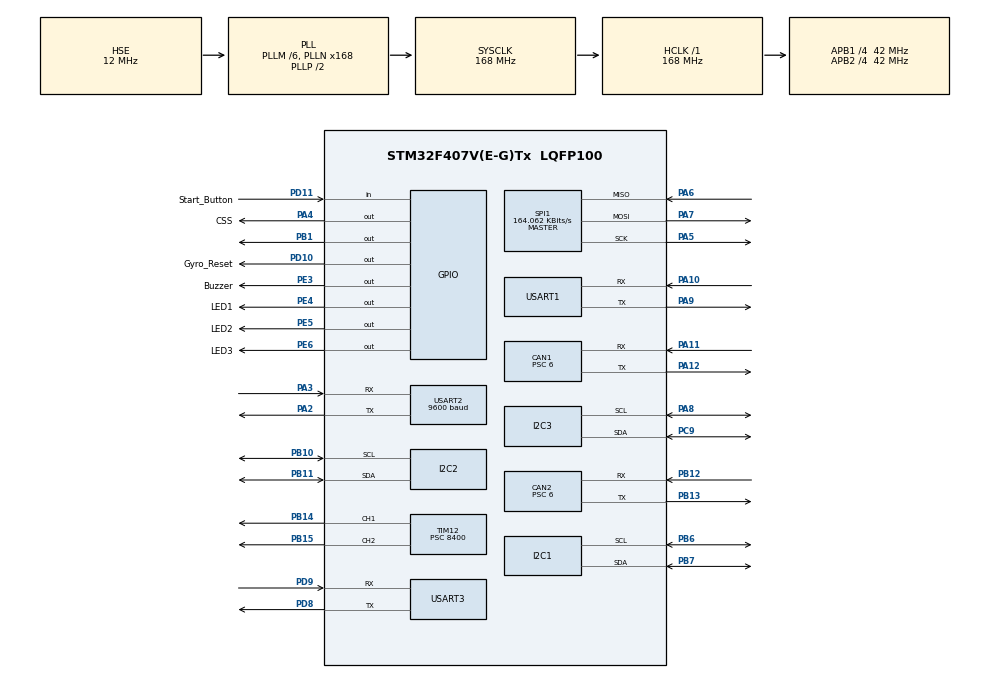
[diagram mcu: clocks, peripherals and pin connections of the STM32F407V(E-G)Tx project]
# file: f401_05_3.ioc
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CAN1.BS1=CAN_BS1_3TQ
CAN1.BS2=CAN_BS2_3TQ
CAN1.CalculateBaudRate=1000000
CAN1.CalculateTimeBit=1000
CAN1.CalculateTimeQuantum=142.85714285714286
CAN1.Prescaler=6
CAN1.SJW=CAN_SJW_2TQ
CAN2.BS1=CAN_BS1_3TQ
CAN2.BS2=CAN_BS2_3TQ
CAN2.CalculateBaudRate=1000000
CAN2.CalculateTimeBit=1000
CAN2.CalculateTimeQuantum=142.85714285714286
CAN2.Prescaler=6
CAN2.SJW=CAN_SJW_2TQ
Dma.Request0=USART3_RX
Dma.USART3_RX.0.Direction=DMA_PERIPH_TO_MEMORY
Dma.USART3_RX.0.FIFOMode=DMA_FIFOMODE_DISABLE
Dma.USART3_RX.0.Instance=DMA1_Stream1
Dma.USART3_RX.0.MemDataAlignment=DMA_MDATAALIGN_BYTE
Dma.USART3_RX.0.MemInc=DMA_MINC_ENABLE
Dma.USART3_RX.0.Mode=DMA_NORMAL
Dma.USART3_RX.0.PeriphDataAlignment=DMA_PDATAALIGN_BYTE
Dma.USART3_RX.0.PeriphInc=DMA_PINC_DISABLE
Dma.USART3_RX.0.Priority=DMA_PRIORITY_LOW
FREERTOS.Tasks01=defaultTask,24,128,StartDefaultTask,Default,NULL,Dynamic,NULL,NULL
FREERTOS.configENABLE_FPU=1
I2C3.I2C_Mode=I2C_Standard
Mcu.Family=STM32F4
Mcu.Name=STM32F407V(E-G)Tx
Mcu.Package=LQFP100
NVIC.CAN1_RX0_IRQn=true\:5\:0\:true\:false\:true\:true\:true\:true\:true
NVIC.CAN2_RX0_IRQn=true\:5\:0\:true\:false\:true\:true\:true\:true\:true
NVIC.DMA1_Stream1_IRQn=true\:5\:0\:false\:false\:true\:true\:false\:true\:true
NVIC.PriorityGroup=NVIC_PRIORITYGROUP_4
NVIC.TIM2_IRQn=true\:15\:0\:false\:false\:true\:false\:false\:true\:true
NVIC.TIM8_TRG_COM_TIM14_IRQn=true\:5\:0\:false\:false\:true\:true\:true\:true\:true
NVIC.TimeBase=TIM2_IRQn
NVIC.TimeBaseIP=TIM2
NVIC.USART1_IRQn=true\:5\:0\:true\:false\:true\:true\:true\:true\:true
NVIC.USART2_IRQn=true\:5\:0\:true\:false\:true\:true\:true\:true\:true
NVIC.USART3_IRQn=true\:5\:0\:false\:false\:true\:true\:true\:true\:true
PA10.Mode=Asynchronous
PA10.Signal=USART1_RX
PA11.Mode=CAN_Activate
PA11.Signal=CAN1_RX
PA12.Mode=CAN_Activate
PA12.Signal=CAN1_TX
PA13.Mode=Serial_Wire
PA13.Signal=SYS_JTMS-SWDIO
PA14.Mode=Serial_Wire
PA14.Signal=SYS_JTCK-SWCLK
PA2.Mode=Asynchronous
PA2.Signal=USART2_TX
PA3.Mode=Asynchronous
PA3.Signal=USART2_RX
PA4.GPIO_Label=CSS
PA4.PinState=GPIO_PIN_SET
PA4.Signal=GPIO_Output
PA5.Mode=Full_Duplex_Master
PA5.Signal=SPI1_SCK
PA6.Mode=Full_Duplex_Master
PA6.Signal=SPI1_MISO
PA7.Mode=Full_Duplex_Master
PA7.Signal=SPI1_MOSI
PA8.Mode=I2C
PA8.Signal=I2C3_SCL
PA9.Mode=Asynchronous
PA9.Signal=USART1_TX
PB1.Signal=GPIO_Output
PB10.Mode=I2C
PB10.Signal=I2C2_SCL
PB11.Mode=I2C
PB11.Signal=I2C2_SDA
PB12.Mode=CAN_Activate
PB12.Signal=CAN2_RX
PB13.Mode=CAN_Activate
PB13.Signal=CAN2_TX
PB14.Signal=S_TIM12_CH1
PB15.Signal=S_TIM12_CH2
PB6.Mode=I2C
PB6.Signal=I2C1_SCL
PB7.Mode=I2C
PB7.Signal=I2C1_SDA
PC14-OSC32_IN.Mode=LSE-External-Oscillator
PC14-OSC32_IN.Signal=RCC_OSC32_IN
PC15-OSC32_OUT.Mode=LSE-External-Oscillator
PC15-OSC32_OUT.Signal=RCC_OSC32_OUT
PC9.Mode=I2C
PC9.Signal=I2C3_SDA
PD10.GPIO_Label=Gyro_Reset
PD10.PinState=GPIO_PIN_SET
PD10.Signal=GPIO_Output
PD11.GPIO_Label=Start_Button
PD11.GPIO_PuPd=GPIO_PULLUP
PD11.Signal=GPIO_Input
PD8.Mode=Asynchronous
PD8.Signal=USART3_TX
PD9.Mode=Asynchronous
PD9.Signal=USART3_RX
PE3.GPIO_Label=Buzzer
PE3.Signal=GPIO_Output
PE4.GPIO_Label=LED1
PE4.Signal=GPIO_Output
PE5.GPIO_Label=LED2
PE5.Signal=GPIO_Output
PE6.GPIO_Label=LED3
PE6.Signal=GPIO_Output
PH0-OSC_IN.Mode=HSE-External-Oscillator
PH0-OSC_IN.Signal=RCC_OSC_IN
PH1-OSC_OUT.Mode=HSE-External-Oscillator
PH1-OSC_OUT.Signal=RCC_OSC_OUT
ProjectManager.HeapSize=0x200
ProjectManager.StackSize=0x400
ProjectManager.TargetToolchain=CMake
RCC.48MHZClocksFreq_Value=84000000
RCC.AHBFreq_Value=168000000
RCC.APB1CLKDivider=RCC_HCLK_DIV4
RCC.APB1Freq_Value=42000000
RCC.APB1TimFreq_Value=84000000
RCC.APB2CLKDivider=RCC_HCLK_DIV4
RCC.APB2Freq_Value=42000000
RCC.APB2TimFreq_Value=84000000
RCC.CortexFreq_Value=168000000
RCC.HCLKFreq_Value=168000000
RCC.HSE_VALUE=12000000
RCC.HSI_VALUE=16000000
RCC.PLLM=6
RCC.PLLN=168
RCC.PLLSourceVirtual=RCC_PLLSOURCE_HSE
RCC.SYSCLKFreq_VALUE=168000000
RCC.SYSCLKSource=RCC_SYSCLKSOURCE_PLLCLK
RCC.VCOOutputFreq_Value=336000000
SH.S_TIM12_CH1.0=TIM12_CH1,PWM Generation1 CH1
SH.S_TIM12_CH2.0=TIM12_CH2,PWM Generation2 CH2
SPI1.BaudRatePrescaler=SPI_BAUDRATEPRESCALER_256
SPI1.CLKPolarity=SPI_POLARITY_HIGH
SPI1.CalculateBaudRate=164.062 KBits/s
SPI1.Direction=SPI_DIRECTION_2LINES
SPI1.FirstBit=SPI_FIRSTBIT_LSB
SPI1.Mode=SPI_MODE_MASTER
SPI1.VirtualType=VM_MASTER
STMicroelectronics.X-CUBE-ALGOBUILD.1.4.0.LibraryCcDSPOoLibraryJjDSPOoLibrary=true
TIM11.Prescaler=83
TIM12.Channel-PWM\ Generation1\ CH1=TIM_CHANNEL_1
TIM12.Channel-PWM\ Generation2\ CH2=TIM_CHANNEL_2
TIM12.Period=200
TIM12.Prescaler=8400
TIM12.Pulse-PWM\ Generation1\ CH1=5
TIM12.Pulse-PWM\ Generation2\ CH2=5
TIM13.Prescaler=83
TIM14.Period=10000-1
TIM14.Prescaler=84-1
TIM8.AutoReloadPreload=TIM_AUTORELOAD_PRELOAD_ENABLE
TIM8.Prescaler=84-1
USART1.VirtualMode=VM_ASYNC
USART2.BaudRate=9600
USART2.VirtualMode=VM_ASYNC
USART3.VirtualMode=VM_ASYNC
VP_FREERTOS_VS_CMSIS_V2.Mode=CMSIS_V2
VP_STMicroelectronics.X-CUBE-ALGOBUILD_VS_DSPOoLibraryJjLibrary_1.4.0_1.4.0.Mode=DSPOoLibraryJjLibrary
VP_SYS_VS_tim2.Mode=TIM2
VP_TIM10_VS_ClockSourceINT.Mode=Enable_Timer
VP_TIM11_VS_ClockSourceINT.Mode=Enable_Timer
VP_TIM12_VS_ClockSourceINT.Mode=Internal
VP_TIM13_VS_ClockSourceINT.Mode=Enable_Timer
VP_TIM14_VS_ClockSourceINT.Mode=Enable_Timer
VP_TIM8_VS_ClockSourceINT.Mode=Internal
VP_TIM9_VS_ClockSourceINT.Mode=Internal
board=custom

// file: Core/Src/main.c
/* USER CODE BEGIN Header */
/**
  ******************************************************************************
  * @file           : main.c
  * @brief          : Main program body
  ******************************************************************************
  * @attention
  *
  * Copyright (c) 2025 STMicroelectronics.
  * All rights reserved.
  *
  * This software is licensed under terms that can be found in the LICENSE file
  * in the root directory of this software component.
  * If no LICENSE file comes with this software, it is provided AS-IS.
  *
  ******************************************************************************
  */
/* USER CODE END Header */
#include "main.h"
#include "cmsis_os.h"
#include "can.h"
#include "dma.h"
#include "i2c.h"
#include "spi.h"
#include "tim.h"
#include "usart.h"
#include "gpio.h"

/* USER CODE BEGIN Includes */
#include "stdio.h"

#include "bsp_can.h"
#include "pid.h"
#include "Chassis_Control.h"
#include "mpu6050.h"
#include "Chassis_Control.h"
#include "OLED.h"
#include "HC_SR04.h"
#include "map.h"
#include "Arm_Control.h"
#include "VL53L1.h"
#include "MPU9250.h"
#include "VL53L1X_API.h"
#include "Process_Control.h"
#include "Gyro.h"

/* USER CODE END Includes */

void SystemClock_Config(void);
void MX_FREERTOS_Init(void);

/* USER CODE BEGIN 0 */
uint16_t time=0,cost=0;
uint8_t RxBuffer[16];
uint8_t DMABuffer[DMABuffer_Size];
int32_t value=0;
uint8_t sequence[8];
//标志顺序接收状态
uint8_t state=0;
//MPU9250 angle;
/* USER CODE END 0 */

int main(void)
{

  /* MCU Configuration--------------------------------------------------------*/

  /* Reset of all peripherals, Initializes the Flash interface and the Systick. */
  HAL_Init();

  /* Configure the system clock */
  SystemClock_Config();

  /* Initialize all configured peripherals */
  MX_GPIO_Init();
  MX_DMA_Init();
  MX_CAN1_Init();
  MX_CAN2_Init();
  MX_I2C1_Init();
  MX_I2C2_Init();
  MX_SPI1_Init();
  MX_TIM9_Init();
  MX_TIM10_Init();
  MX_TIM11_Init();
  MX_TIM12_Init();
  MX_USART1_UART_Init();
  MX_USART2_UART_Init();
  MX_TIM14_Init();
  MX_TIM13_Init();
  MX_TIM8_Init();
  MX_I2C3_Init();
  MX_USART3_UART_Init();
  /* USER CODE BEGIN 2 */
    RetargetInit(&huart1);
    CAN_Filter_Config();
    HAL_CAN_ActivateNotification(&hcan1, CAN_IT_RX_FIFO0_MSG_PENDING);
    HAL_CAN_ActivateNotification(&hcan2, CAN_IT_RX_FIFO0_MSG_PENDING);
    HAL_UART_Receive_IT(UART_PI,RxBuffer,10);//接收顺序
    HAL_TIM_Base_Start(&htim11);
    HAL_TIM_Base_Start(&htim13);
//    HAL_TIM_IC_Start_IT(&htim8, TIM_CHANNEL_1);
    //底盘电机
    pid_param_init(&motor_pid[0],	3000,500,10,8000,0,2.0f,0.20f,0.3f);
    pid_param_init(&motor_pid[1],	3000,500,10,8000,0,2.0f,0.20f,0.3f);
    pid_param_init(&motor_pid[2],	3000,500,10,8000,0,2.0f,0.20f,0.3f);
    pid_param_init(&motor_pid[3],	3000,500,10,8000,0,2.0f,0.20f,0.3f);
    //机械臂转盘
    pid_param_init(&arm_pid[0],	1000,400,360,1000,5,0.02f,0.01f,0.2f);
    //机械臂升降
    pid_param_init(&arm_pid[1],	2000,500,100,1000,0,0.02f,0.01f,0.1f);
    //机械臂伸缩
    pid_param_init(&arm_pid[2],	2000,500,100,1000,0,0.02f,0.01f,0.1f);
    //运动距离控制
    pid_param_init(&distance_x_pid, 500, 200, 2, 2000, 0, 1.2f, 0.01f, 0.3f);
    pid_param_init(&distance_y_pid, 500, 200, 2,  2000, 0, 1.2f, 0.01f, 0.3f);
    pid_param_init(&distance_z_pid, 1.0f, 200, 0.0175f, 2000, 0, 3.0f, 0.001f, 5);
    //校准pid
    pid_param_init(&calibration_x_pid, 800, 70, 1, 180, 0, 0.9f, 0.01f, 0.2f);
    pid_param_init(&calibration_y_pid, 800, 70, 1, 120, 0, 0.9f, 0.01f, 0.2f);
    pid_param_init(&calibration_z_pid, 0.1f, 0.2f, 0.0175f, 90, 0, 0.1f, 0, 0);
//    MPU9250_init();
//    mpu_dmp_init();
    OLED_Init();
//    uint8_t id=MPU9250_ID();
//    printf("%d",id);
    //    set_arm_height(300);
//  //  set_arm_angle(360);
//    HAL_Delay(10000);
// //   set_arm_angle(0);
//    set_arm_height(0);
//    float pitch=0, roll=0, yaw=0,ax ,ay ,az;
//    if(DMP_Init()!=0)
//    {
//        printf("error");
//    }
//    HAL_Delay(1000);
//    Omni_Reverse_Calculation(500,0,0);
//    Omni_set_target();
//    HAL_Delay(2000);
//    Omni_Reverse_Calculation(0,0,0);
//    Omni_set_target();
    HAL_TIM_PWM_Start(&htim12,TIM_CHANNEL_1);
    __HAL_TIM_SET_COMPARE(&htim12,TIM_CHANNEL_1,5);

#ifdef GYRO_ENABLE
    HAL_UARTEx_ReceiveToIdle_DMA(UART_GYRO,DMABuffer,DMABuffer_Size);
    Gyro_Reset();
#endif
//    HAL_UART_Receive_IT(&huart3, rx_yaw, sizeof(float));
//    multi_init();
//

//
//    OLED_ShowNum(0, 0, Distance[0], 4,OLED_8X16);
//
//    OLED_ShowFloatNum(40, 0, (double)angle.yaw,3, 2,OLED_8X16);
//
//    OLED_ShowNum(0, 16, Distance[1], 4,OLED_8X16);
//
//    OLED_ShowNum(0, 32, Distance[2], 4,OLED_8X16);
//
//    OLED_ShowNum(0, 48, Distance[3], 4,OLED_8X16);
 //   OLED_Update();
//调试代码
//    distance_x_pid.target=-1000;
//    distance_y_pid.target=0;
//    distance_z_pid.target=0;
//    uint8_t tx=0x55;
//   HAL_TIM_Base_Start_IT(&htim14);

//    set_cur_pos(0,-400,0);
//    uint8_t sequence[8]= {1,2,3,4,5,6,3,3};
//    Process_Generation(sequence);
    //未获取到数据，等待树莓派数据
    while (state!=2)
    {
        OLED_ShowString(0,0,"waiting for data",OLED_8X16);
        OLED_Update();
    }
    Process_Generation(sequence);
    //打印获取数据
    OLED_Clear();
    for(int i=0;i<6;i++)
        OLED_ShowNum(16*i,0,sequence[i],1,OLED_8X16);
    OLED_ShowNum(0,16,sequence[6],1,OLED_8X16);
    OLED_ShowNum(16,16,sequence[7],1,OLED_8X16);
    OLED_Update();
    //等待按下开始按钮
    while(HAL_GPIO_ReadPin(Start_Button_GPIO_Port,Start_Button_Pin))
    {

    }
  /* USER CODE END 2 */

  /* Init scheduler */
  osKernelInitialize();

  /* Call init function for freertos objects (in cmsis_os2.c) */
  MX_FREERTOS_Init();

  /* Start scheduler */
  osKernelStart();

  /* We should never get here as control is now taken by the scheduler */

  /* Infinite loop */
  while (1)
  {

    /* USER CODE BEGIN 3 */
    //定位
      Omni_Forward_Calculation(moto_chassis);
//      MPU9250_Get_Angle(&angle);
////      Get_Dis();
//      get_distance();
//      OLED_ShowNum(0, 0, Distance[0], 4,OLED_8X16);
//      OLED_ShowFloatNum(40, 0, (double)angle.yaw,3, 2,OLED_8X16);
//      OLED_ShowNum(0, 16, Distance[1], 4,OLED_8X16);
//      OLED_ShowNum(0, 32, Distance[2], 4,OLED_8X16);
//      OLED_ShowNum(0, 48, Distance[3], 4,OLED_8X16);
      OLED_Update();
//      HAL_Delay(5000);
//      __HAL_TIM_SET_COMPARE(&htim12,TIM_CHANNEL_1,10);
//     HAL_Delay(5000);
//      __HAL_TIM_SET_COMPARE(&htim12,TIM_CHANNEL_1,5);

//    motor();
//    Omni_Forward_Calculation(moto_chassis);
//    HAL_Delay(3);
//      MPU6050_DMP_Get_Data(&pitch, &roll, &yaw);
//    //  MPU6050_DMP_Get_Accel(&ax ,&ay ,&az);
//      HAL_UART_Transmit(&huart1,&tx,1,100);
//        printf("%f\n",angle.yaw);
//      printf("%f,%f,%f,%f,%f\n",distance_x_pid.target,cur_pos.x,distance_x_pid.output,cur_pos.y,cur_pos.yaw);
//      HAL_Delay(10);
//        printf("%d\n",time);
//        HAL_Delay(10);
//      HAL_GPIO_TogglePin(GPIOB,GPIO_PIN_1);
//      HAL_Delay(1000);
  }
  /* USER CODE END 3 */
}

void SystemClock_Config(void)
{
  RCC_OscInitTypeDef RCC_OscInitStruct = {0};
  RCC_ClkInitTypeDef RCC_ClkInitStruct = {0};

  /** Configure the main internal regulator output voltage
  */
  __HAL_RCC_PWR_CLK_ENABLE();
  __HAL_PWR_VOLTAGESCALING_CONFIG(PWR_REGULATOR_VOLTAGE_SCALE1);

  /** Initializes the RCC Oscillators according to the specified parameters
  * in the RCC_OscInitTypeDef structure.
  */
  RCC_OscInitStruct.OscillatorType = RCC_OSCILLATORTYPE_HSE;
  RCC_OscInitStruct.HSEState = RCC_HSE_ON;
  RCC_OscInitStruct.PLL.PLLState = RCC_PLL_ON;
  RCC_OscInitStruct.PLL.PLLSource = RCC_PLLSOURCE_HSE;
  RCC_OscInitStruct.PLL.PLLM = 6;
  RCC_OscInitStruct.PLL.PLLN = 168;
  RCC_OscInitStruct.PLL.PLLP = RCC_PLLP_DIV2;
  RCC_OscInitStruct.PLL.PLLQ = 4;
  if (HAL_RCC_OscConfig(&RCC_OscInitStruct) != HAL_OK)
  {
    Error_Handler();
  }

  /** Initializes the CPU, AHB and APB buses clocks
  */
  RCC_ClkInitStruct.ClockType = RCC_CLOCKTYPE_HCLK|RCC_CLOCKTYPE_SYSCLK
                              |RCC_CLOCKTYPE_PCLK1|RCC_CLOCKTYPE_PCLK2;
  RCC_ClkInitStruct.SYSCLKSource = RCC_SYSCLKSOURCE_PLLCLK;
  RCC_ClkInitStruct.AHBCLKDivider = RCC_SYSCLK_DIV1;
  RCC_ClkInitStruct.APB1CLKDivider = RCC_HCLK_DIV4;
  RCC_ClkInitStruct.APB2CLKDivider = RCC_HCLK_DIV4;

  if (HAL_RCC_ClockConfig(&RCC_ClkInitStruct, FLASH_LATENCY_5) != HAL_OK)
  {
    Error_Handler();
  }
}

/* USER CODE BEGIN 4 */
void HAL_UART_RxCpltCallback(UART_HandleTypeDef *huart)
{
    if(huart==UART_PI)
    {
      //获取夹取顺序
      if(RxBuffer[0]==0xaa&&RxBuffer[9]==0xbb)
      {
        if (RxBuffer[1]==0xee)//数据正确
        {
            state=2;
            return;
        }
        for (int i=0;i<8;i++)
        {
          sequence[i]=RxBuffer[i+1];
        }
        state=1;
        // printf("%f\t%f\t\n",calibration_x_pid.measure,calibration_y_pid.measure);
        HAL_UART_Transmit_IT(UART_PI,RxBuffer,10);
        HAL_UART_Transmit_IT(UART_DEBUG,RxBuffer,10);
        HAL_UART_Receive_IT(UART_PI,RxBuffer,10);
      }
      //获取校准值
      if(RxBuffer[0]==0xcc&&RxBuffer[7]==0xdd)
      {

          calibration_x_pid.measure=(float)((int16_t)(RxBuffer[1]<<8)|RxBuffer[2]);
          calibration_y_pid.measure=(float)((int16_t)(RxBuffer[3]<<8)|RxBuffer[4]);
          calibration_z_pid.measure=(float)((int16_t)(RxBuffer[5]<<8)|RxBuffer[6]);
//           printf("%f\t%f\t\n",calibration_x_pid.measure,calibration_y_pid.measure);
//          printf("%f,%f,%f\n",calibration_x_pid.measure,calibration_y_pid.measure,calibration_z_pid.measure);

      }

    }
}
// 空闲中断回调函数
void HAL_UARTEx_RxEventCallback(UART_HandleTypeDef *huart, uint16_t Size)
{
    if(huart->Instance==USART3)
    {
        memcpy(&value,DMABuffer+36+6,sizeof(int32_t));
        if(value>180000||value<-180000)
            value=0;
        if(value<0)
        {
            value=360000+value;
        }
//        printf("%f----\n",yaw_value);
        //再次开启空闲中断接收，不然只会接收一次数据
        HAL_UARTEx_ReceiveToIdle_DMA(UART_GYRO,DMABuffer,DMABuffer_Size);
    }
}
/* USER CODE END 4 */

void HAL_TIM_PeriodElapsedCallback(TIM_HandleTypeDef *htim)
{
  if (htim->Instance == TIM2) {
    HAL_IncTick();
  }
  /* USER CODE BEGIN Callback 1 */
    if(htim==&htim14)
    {
//        MPU9250_Get_Angle(&angle);

//        time=__HAL_TIM_GET_COUNTER(&htim13);
//        pid_calculate_speed(&distance_x_pid, cur_pos.x);
//        pid_calculate_speed(&distance_y_pid, cur_pos.y);
//        pid_calculate_speed(&distance_z_pid, cur_pos.yaw);
//        Omni_Reverse_Calculation(distance_x_pid.output,distance_y_pid.output,distance_z_pid.output);
//        pid_calculate_speed(&arm_pid[0], moto_arm[0].total_angle);
//        pid_calculate_speed(&arm_pid[1], moto_arm[1].total_angle);
//        pid_calculate_speed(&arm_pid[2], moto_arm[2].total_angle);
//        set_moto_arm_current(arm_pid[0].output,arm_pid[1].output,0);
//        pid_calculate_speed(&motor_pid[0], moto_chassis[0].speed_rpm);
//        pid_calculate_speed(&motor_pid[1], moto_chassis[1].speed_rpm);
//        pid_calculate_speed(&motor_pid[2], moto_chassis[2].speed_rpm);
//        pid_calculate_speed(&motor_pid[3], moto_chassis[3].speed_rpm);
//        set_moto_chassis_current(motor_pid[0].output, motor_pid[1].output, motor_pid[2].output, motor_pid[3].output);
//        uint16_t count=__HAL_TIM_GET_COUNTER(&htim13);
//        if(count<time)
//        {
//            cost=0xffff-time+count;
//        }
//        else
//            cost=count-time;
//        count++;
    }
//开始程序备份
//    //未获取到数据
//    while (state!=2)
//    {
//        OLED_ShowString(0,0,"waiting for data",OLED_8X16);
//        OLED_Update();
//    }
//    Process_Generation(sequence);
//    //打印获取数据
//    for(int i=0;i<6;i++)
//        OLED_ShowNum(16*i,0,sequence[i],1,OLED_8X16);
//    OLED_ShowNum(0,16,sequence[6],1,OLED_8X16);
//    OLED_ShowNum(16,16,sequence[7],1,OLED_8X16);
//    OLED_Update();
//    while(HAL_GPIO_ReadPin(start_button_GPIO_Port,start_button_Pin))
//    {
//
//    }
  /* USER CODE END Callback 1 */
}

void Error_Handler(void)
{
  __disable_irq();
  while (1)
  {
  }
}

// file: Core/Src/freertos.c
/* USER CODE BEGIN Header */
/**
  ******************************************************************************
  * File Name          : freertos.c
  * Description        : Code for freertos applications
  ******************************************************************************
  * @attention
  *
  * Copyright (c) 2025 STMicroelectronics.
  * All rights reserved.
  *
  * This software is licensed under terms that can be found in the LICENSE file
  * in the root directory of this software component.
  * If no LICENSE file comes with this software, it is provided AS-IS.
  *
  ******************************************************************************
  */
/* USER CODE END Header */

#include "FreeRTOS.h"
#include "task.h"
#include "main.h"
#include "cmsis_os.h"

/* USER CODE BEGIN Includes */
#include "queue.h"

#include "bsp_can.h"
#include "pid.h"
#include "Chassis_Control.h"
#include "mpu6050.h"
#include "Chassis_Control.h"
#include "OLED.h"
#include "HC_SR04.h"
#include "map.h"
#include "Arm_Control.h"
#include "VL53L1.h"
#include "MPU9250.h"
#include "VL53L1X_API.h"
#include "Process_Control.h"
#include "event_groups.h"
#include "usart.h"
#include "Gyro.h"

/* USER CODE END Includes */

/* USER CODE BEGIN PM */
extern uint8_t RxBuffer[16];
/* USER CODE END PM */

/* USER CODE BEGIN Variables */
BaseType_t ret;//返回值
TaskHandle_t OFC;//运动正解任务
TaskHandle_t DSP;//双环pid任务 distance_speed_pid_task
TaskHandle_t CPT;//校准pid任务 calibration_pid_task
TaskHandle_t OLEDT;//oled显示任务 oled_task
TaskHandle_t PCT;//流程控制任务 process_control_task
TaskHandle_t APT;//机械臂控制任务 arm_pid_task
//QueueHandle_t control_flow_queue;//控制流队列
//EventGroupHandle_t arrive_event_group;//控制流事件组
/* USER CODE END Variables */
/* Definitions for defaultTask */
osThreadId_t defaultTaskHandle;
const osThreadAttr_t defaultTask_attributes = {
  .name = "defaultTask",
  .stack_size = 128 * 4,
  .priority = (osPriority_t) osPriorityNormal,
};

/* USER CODE BEGIN FunctionPrototypes */
void Omni_Forward_Calculation_task(void *param);
void distance_speed_pid_task(void *param);
void calibration_pid_task(void *parm);
void oled_task(void *parm);
void process_control_task(void *parm);
void arm_pid_task(void *parm);
/* USER CODE END FunctionPrototypes */

void StartDefaultTask(void *argument);

void MX_FREERTOS_Init(void); /* (MISRA C 2004 rule 8.1) */

void MX_FREERTOS_Init(void) {

  /* Create the thread(s) */
  /* creation of defaultTask */
  defaultTaskHandle = osThreadNew(StartDefaultTask, NULL, &defaultTask_attributes);

  /* USER CODE BEGIN RTOS_THREADS */
//    control_flow_queue= xQueueCreate(5, sizeof(control_block));//创建控制队列
//    arrive_event_group= xEventGroupCreate();//创建控制完成事件组
  /* add threads, ... */
  ret= xTaskCreate(oled_task,"oled_task",256,NULL,3,&OLEDT);
  ret= xTaskCreate(Omni_Forward_Calculation_task,"Omni_Forward_Calculation_task",256,NULL,3,&OFC);
  ret= xTaskCreate(distance_speed_pid_task,"distance_speed_pid_task",256,NULL,3,&DSP);
  ret= xTaskCreate(process_control_task,"process_control_task",256,NULL,4,&PCT);
  ret= xTaskCreate(arm_pid_task,"arm_pid_task",128,NULL,3,&APT);
  ret= xTaskCreate(calibration_pid_task,"calibration_pid_task",256,NULL,3,&CPT);
    //阻塞校准pid任务
    vTaskSuspend(CPT);
  /* USER CODE END RTOS_THREADS */

}

void StartDefaultTask(void *argument)
{
  for(;;)
  {
    osDelay(1);
  }
}

/* USER CODE BEGIN Application */
/**
 * @brief 全向轮正解任务
 * @param param
 */
void Omni_Forward_Calculation_task(void *param)
{
    while(1)
    {
        Mecanum_Forward_Calculation(moto_chassis);
        vTaskDelay(20);
    }
}
/**
 * @brief 双环pid计算任务，距离->速度->电流
 * @param param
 */
void distance_speed_pid_task(void *param)
{
    TickType_t xLastWakeTime=xTaskGetTickCount();
    while(1)
    {
        //位置环
        pid_calculate_position(&distance_x_pid, cur_pos.x);
        pid_calculate_position(&distance_y_pid, cur_pos.y);
        pid_calculate_position_z(&distance_z_pid, cur_pos.yaw);
        //计算四轮速度并设置速度环pid target
        //distance_x_pid.output=0;
//        distance_y_pid.output=0;
//        distance_z_pid.output=0;
        Mecanum_Reverse_Calculation(distance_x_pid.output,distance_y_pid.output,distance_z_pid.output);
//        Mecanum_Reverse_Calculation(100,0,0);
//        printf("%d,%d,%d,%d,%f,%f,%f,%f,%f\n",moto_chassis[0].speed_rpm,moto_chassis[1].speed_rpm,moto_chassis[2].speed_rpm,moto_chassis[3].speed_rpm,motor_pid[0].target,motor_pid[1].target,motor_pid[2].target,motor_pid[3].target,cur_pos.yaw);
//        motor();
        //速度环
        pid_calculate_speed(&motor_pid[0], moto_chassis[0].speed_rpm);
        pid_calculate_speed(&motor_pid[1], moto_chassis[1].speed_rpm);
        pid_calculate_speed(&motor_pid[2], moto_chassis[2].speed_rpm);
        pid_calculate_speed(&motor_pid[3], moto_chassis[3].speed_rpm);
        set_moto_chassis_current(motor_pid[0].output, motor_pid[1].output, motor_pid[2].output, motor_pid[3].output);

        //printf("%f,%f,%f,%f\n",distance_z_pid.measure,distance_z_pid.target,distance_z_pid.output,distance_x_pid.output);
        vTaskDelayUntil(&xLastWakeTime, pdMS_TO_TICKS(20));
    }
}
/**
 * @brief 机械臂id计算任务，位置->电流
 * @param param
 */
void arm_pid_task(void *parm)
{
    TickType_t xLastWakeTime=xTaskGetTickCount();
    while(1)
    {
        pid_calculate_position(&arm_pid[0], moto_arm[0].total_angle);
        pid_calculate_position(&arm_pid[1], moto_arm[1].total_angle);
        pid_calculate_position(&arm_pid[2], moto_arm[2].total_angle);
//        arm_pid[1].output=0;
        set_moto_arm_current(arm_pid[0].output, arm_pid[1].output, arm_pid[2].output);
        vTaskDelayUntil(&xLastWakeTime, pdMS_TO_TICKS(50));
    }
}
/**
 * @brief 校准pid
 * @param parm
 */
void calibration_pid_task(void *parm)
{
    TickType_t xLastWakeTime=xTaskGetTickCount();
    while(1)
    {
//        printf("%f,%f,%f\n",calibration_x_pid.measure,calibration_y_pid.measure,calibration_z_pid.measure);
//        HAL_UART_Transmit_IT(UART_DEBUG,RxBuffer,10);

        float x=calibration_x_pid.measure,y=calibration_y_pid.measure,z=calibration_z_pid.measure;
        pid_calculate_position(&calibration_x_pid, x);
        pid_calculate_position(&calibration_y_pid, y);
        pid_calculate_position(&calibration_z_pid, z);
//        printf("%f,%f,%f,%f,%f,%f\n",calibration_x_pid.output,calibration_y_pid.output,calibration_z_pid.output,calibration_x_pid.measure,calibration_y_pid.measure,calibration_z_pid.measure);
        //计算四轮速度并设置速度环pid target,不进行坐标变换
        Mecanum_Reverse_Calculation_unchanged(calibration_x_pid.output,calibration_y_pid.output,calibration_z_pid.output);

        pid_calculate_speed(&motor_pid[0], moto_chassis[0].speed_rpm);
        pid_calculate_speed(&motor_pid[1], moto_chassis[1].speed_rpm);
        pid_calculate_speed(&motor_pid[2], moto_chassis[2].speed_rpm);
        pid_calculate_speed(&motor_pid[3], moto_chassis[3].speed_rpm);
        set_moto_chassis_current(motor_pid[0].output, motor_pid[1].output, motor_pid[2].output, motor_pid[3].output);

        HAL_UART_Receive_IT(UART_PI,RxBuffer,8);
        vTaskDelayUntil(&xLastWakeTime, pdMS_TO_TICKS(20));
    }
}
/**
 * @brief oled屏幕显示任务
 * @param parm
 */
void oled_task(void *parm)
{
//    extern MPU9250 angle;
    TickType_t xLastWakeTime=xTaskGetTickCount();
    while(1)
    {
        float x,y,yaw;
        get_cur_pos(&x,&y,&yaw);

        OLED_ShowFloatNum(0, 0, x,4, 2,OLED_8X16);
        OLED_ShowFloatNum(0, 16,y,4, 2,OLED_8X16);
        OLED_ShowFloatNum(0, 32, yaw,4, 2,OLED_8X16);

//        OLED_ShowFloatNum(64, 0, distance_x_pid.output,3, 2,OLED_8X16);
//        OLED_ShowFloatNum(64, 16, distance_y_pid.output,3, 2,OLED_8X16);
//        OLED_ShowFloatNum(64, 32, distance_z_pid.output,3, 2,OLED_8X16);
        OLED_ShowFloatNum(64, 0, moto_chassis[0].speed_rpm,3, 2,OLED_8X16);
        OLED_ShowFloatNum(64, 16, moto_chassis[1].speed_rpm,3, 2,OLED_8X16);
        OLED_ShowFloatNum(64, 32, moto_chassis[2].speed_rpm,3, 2,OLED_8X16);
        OLED_ShowFloatNum(64, 48, moto_chassis[3].speed_rpm,3, 2,OLED_8X16);
//        OLED_ShowFloatNum(0, 48, moto_chassis[0].angle,3, 2,OLED_8X16);
//        OLED_ShowFloatNum(0, 48, (double)angle.yaw,3, 2,OLED_8X16);
        OLED_Update();
        //printf("%d,%d,%d,%d,%f,%f,%f,%f\n",moto_chassis[0].speed_rpm,moto_chassis[1].speed_rpm,moto_chassis[2].speed_rpm,moto_chassis[3].speed_rpm,motor_pid[0].target,motor_pid[1].target,motor_pid[2].target,motor_pid[3].target);
        vTaskDelayUntil(&xLastWakeTime, pdMS_TO_TICKS(100));
    }
}
/**
 * @brief 流程控制任务
 * @param param
 */
void process_control_task(void *parm)
{
    TickType_t xLastWakeTime=xTaskGetTickCount();
    uint8_t tx_data;
    for(uint8_t i=0;i<control_flow_size;i++)
    {
        if(control_flow[i].uart)
        {
            tx_data=(control_flow[i].uart<<4)|control_flow[i].uart;
            HAL_UART_Transmit_IT(UART_PI, &tx_data, 1);
//            printf("%d\n",tx_data);
            //开始校准
            HAL_UART_Receive_IT(UART_PI,RxBuffer,8);
            //阻塞双环pid
            vTaskSuspend(DSP);
            //阻塞全向轮正解任务
            vTaskSuspend(OFC);
            //恢复校准pid
            vTaskResume(CPT);
            set_cur_pos(control_flow[i].pos_target.x,control_flow[i].pos_target.y,control_flow[i].pos_target.yaw);
            HAL_GPIO_WritePin(Buzzer_GPIO_Port,Buzzer_Pin,GPIO_PIN_SET);
        }
        else
        {
            //阻塞校准pid
            vTaskSuspend(CPT);
            HAL_UART_AbortReceive_IT(&huart2);  // 中止接收中断
            //恢复双环pid
            vTaskResume(DSP);
            //恢复全向轮正解任务,恢复前更新上次运动位移
            Mecanum_Forward_Calculation_patch(moto_chassis);
            vTaskResume(OFC);
            HAL_GPIO_WritePin(Buzzer_GPIO_Port,Buzzer_Pin,GPIO_PIN_RESET);
        }
        //设置运动位置
        distance_x_pid.target=control_flow[i].pos_target.x;
        distance_y_pid.target=control_flow[i].pos_target.y;
        distance_z_pid.target=control_flow[i].pos_target.yaw;
        //设置转盘角度
        set_arm_angle(control_flow[i].arm_target.state);
        //设置升降高度
        set_arm_height(control_flow[i].arm_target.height);
        //设置伸缩长度
        set_arm_length(control_flow[i].arm_target.length);
        //设置舵机夹取
        if(control_flow[i].steering_engine)//夹取
            __HAL_TIM_SET_COMPARE(&htim12,TIM_CHANNEL_1,20);
        else
            __HAL_TIM_SET_COMPARE(&htim12,TIM_CHANNEL_1,5);
        vTaskDelayUntil(&xLastWakeTime, control_flow[i].delay);
    }
    vTaskDelete(NULL);
}

/* USER CODE END Application */
